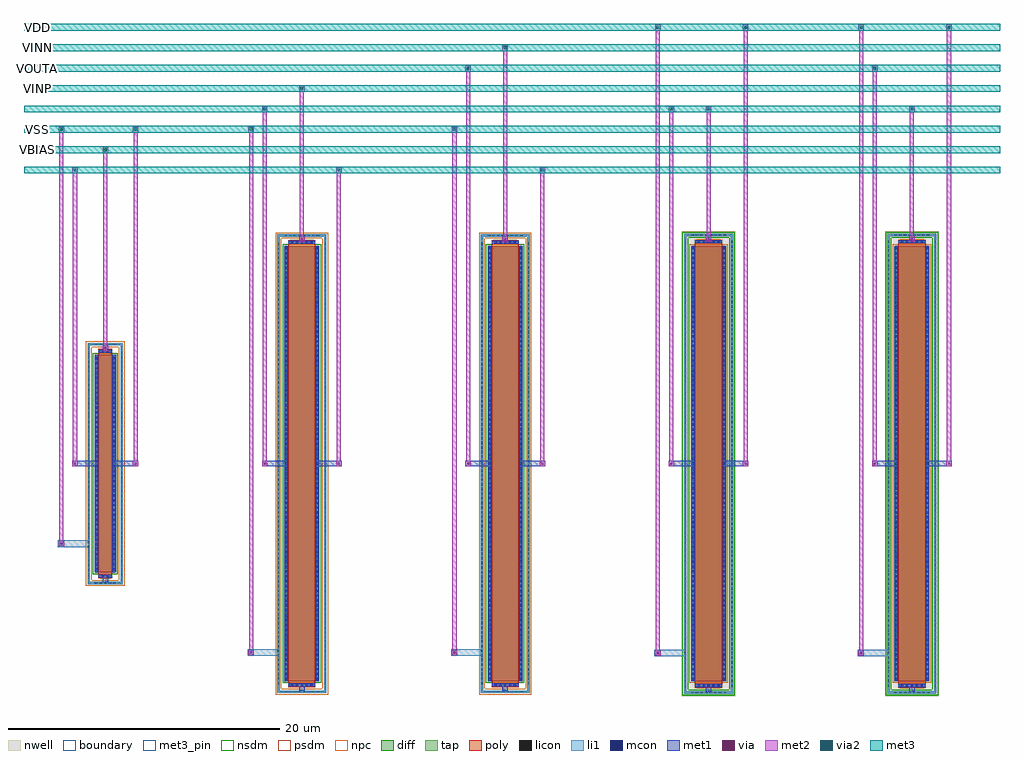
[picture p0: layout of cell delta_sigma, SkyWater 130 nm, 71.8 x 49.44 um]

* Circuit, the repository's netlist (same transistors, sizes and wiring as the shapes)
* u_hawaii_adc -- delta_sigma modulator CORE (integrator OTA) -- sky130A retarget (real sky130_fd_pr devices, native ngspice)
* NOTE: L19 tapeout target is IHP SG13G2 (no public ngspice models). This deck
*   is the DISCLOSED open-source sky130A substitute exercising the real ngspice
*   path. The SC switches/caps + decimation are discrete-time/digital and are
*   verified by the behavioral mixed-signal cosim (A9), not this DC/AC deck.
* Analog core: single-stage NMOS-input OTA, long-L for DC-gain margin vs OSR=256
*   integrator-leakage floor (gain >= 20*log10(256) = 48.16 dB).
.lib /foss/pdks/sky130A/libs.tech/ngspice/sky130.lib.spice tt
.subckt ds_ota VDD VSS VINP VINN VOUTA VBIAS
* NMOS tail current source
XMtail ntail VBIAS VSS VSS sky130_fd_pr__nfet_01v8 W=4 L=1 m=4
* NMOS input diff pair (long L -> high ro -> high DC gain)
XM1 nd1 VINP ntail VSS sky130_fd_pr__nfet_01v8 W=8 L=2 m=4
XM2 VOUTA VINN ntail VSS sky130_fd_pr__nfet_01v8 W=8 L=2 m=4
* PMOS mirror load (diode at nd1), long L
XM3 nd1  nd1 VDD VDD sky130_fd_pr__pfet_01v8 W=8 L=2 m=4
XM4 VOUTA nd1 VDD VDD sky130_fd_pr__pfet_01v8 W=8 L=2 m=4
.ends ds_ota

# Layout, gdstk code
import gdstk
lib = gdstk.Library(unit=1e-6, precision=1e-09)
def R(c, l, rs):  # rectangles x0, y0, x1, y1
    for r in rs: c.add(gdstk.rectangle(r[:2], r[2:], *l))
def A(c, l, x, y, w, h, nx, ny, dx, dy):  # array of equal rectangles
    R(c, l, [(x+i*dx, y+j*dy, x+i*dx+w, y+j*dy+h) for i in range(nx) for j in range(ny)])
nwell = (64, 20)
diff = (65, 20)
tap = (65, 44)
poly = (66, 20)
licon = (66, 44)
li1 = (67, 20)
mcon = (67, 44)
met1 = (68, 20)
via = (68, 44)
met2 = (69, 20)
via2 = (69, 44)
met3_pin = (70, 16)
met3 = (70, 20)
nsdm = (93, 44)
psdm = (94, 20)
npc = (95, 20)
boundary = (235, 4)

dev_nfet_w16_l1 = lib.new_cell('dev_nfet_w16_l1')
R(dev_nfet_w16_l1, diff, [(-0.79,-8,0.79,8)])
R(dev_nfet_w16_l1, tap, [(-1.3,-8.87,1.3,-8.7), (-1.3,-8.7,-1.13,8.7), (1.13,-8.7,1.3,8.7), (-1.3,8.7,1.3,8.87)])
R(dev_nfet_w16_l1, poly, [(-0.5,-8.44,0.5,8.44)])
A(dev_nfet_w16_l1, licon, -0.765, -8.87, 0.17, 0.17, 5, 2, 0.34, 17.57)
A(dev_nfet_w16_l1, licon, -1.3, -8.245, 0.17, 0.17, 1, 49, 0, 0.34)
A(dev_nfet_w16_l1, licon, 1.13, -8.245, 0.17, 0.17, 1, 49, 0, 0.34)
A(dev_nfet_w16_l1, licon, -0.73, -7.905, 0.17, 0.17, 1, 47, 0, 0.34)
A(dev_nfet_w16_l1, licon, 0.56, -7.905, 0.17, 0.17, 1, 47, 0, 0.34)
R(dev_nfet_w16_l1, licon, [(-0.255,-8.36,-0.085,-8.19), (0.085,-8.36,0.255,-8.19), (-0.255,8.19,-0.085,8.36), (0.085,8.19,0.255,8.36)])
R(dev_nfet_w16_l1, li1, [(-1.3,-8.87,1.3,-8.7), (-1.3,-8.7,-1.13,8.7), (1.13,-8.7,1.3,8.7), (-0.5,-8.36,0.5,-8.19), (-0.73,-8.02,-0.56,8.02), (0.56,-8.02,0.73,8.02), (-0.5,8.19,0.5,8.36), (-1.3,8.7,1.3,8.87)])
A(dev_nfet_w16_l1, mcon, -0.73, -7.825, 0.17, 0.17, 1, 44, 0, 0.36)
A(dev_nfet_w16_l1, mcon, 0.56, -7.825, 0.17, 0.17, 1, 44, 0, 0.36)
R(dev_nfet_w16_l1, mcon, [(-0.265,-8.36,-0.095,-8.19), (0.095,-8.36,0.265,-8.19), (-0.265,8.19,-0.095,8.36), (0.095,8.19,0.265,8.36)])
R(dev_nfet_w16_l1, met1, [(-0.48,-8.39,0.48,-8.16), (-0.76,-8,-0.53,8), (0.53,-8,0.76,8), (-0.48,8.16,0.48,8.39)])
R(dev_nfet_w16_l1, nsdm, [(-0.915,-8.125,0.915,8.125)])
R(dev_nfet_w16_l1, psdm, [(-1.425,-8.995,1.425,-8.575), (-1.425,-8.575,-1.005,8.575), (1.005,-8.575,1.425,8.575), (-1.425,8.575,1.425,8.995)])
R(dev_nfet_w16_l1, npc, [(-0.355,-8.46,0.355,-8.09), (-0.355,8.09,0.355,8.46)])
R(dev_nfet_w16_l1, boundary, [(-1.215,-8.785,1.215,8.785)])
dev_nfet_w16_l1.add(gdstk.Label('B', (0,-8.785), layer=67, texttype=5))
dev_nfet_w16_l1.add(gdstk.Label('D', (-0.645,0), layer=67, texttype=5))
dev_nfet_w16_l1.add(gdstk.Label('S', (0.645,0), layer=67, texttype=5))
dev_nfet_w16_l1.add(gdstk.Label('G', (0,8.275), layer=67, texttype=5))

dev_pfet_w32_l2 = lib.new_cell('dev_pfet_w32_l2')
R(dev_pfet_w32_l2, nwell, [(-1.98,-17.095,1.98,17.095)])
R(dev_pfet_w32_l2, diff, [(-1.29,-16,1.29,16)])
R(dev_pfet_w32_l2, tap, [(-1.8,-16.915,1.8,-16.745), (-1.8,-16.745,-1.63,16.745), (1.63,-16.745,1.8,16.745), (-1.8,16.745,1.8,16.915)])
R(dev_pfet_w32_l2, poly, [(-1,-16.485,1,16.485)])
A(dev_pfet_w32_l2, licon, -1.275, -16.915, 0.17, 0.17, 8, 2, 0.34, 33.66)
A(dev_pfet_w32_l2, licon, -1.8, -16.405, 0.17, 0.17, 1, 97, 0, 0.34)
A(dev_pfet_w32_l2, licon, -0.765, -16.405, 0.17, 0.17, 5, 2, 0.34, 32.64)
A(dev_pfet_w32_l2, licon, 1.63, -16.405, 0.17, 0.17, 1, 97, 0, 0.34)
A(dev_pfet_w32_l2, licon, -1.23, -15.895, 0.17, 0.17, 1, 94, 0, 0.34)
A(dev_pfet_w32_l2, licon, 1.06, -15.895, 0.17, 0.17, 1, 94, 0, 0.34)
R(dev_pfet_w32_l2, li1, [(-1.8,-16.915,1.8,-16.745), (-1.8,-16.745,-1.63,16.745), (1.63,-16.745,1.8,16.745), (-1,-16.405,1,-16.235), (-1.23,-16.02,-1.06,16.02), (1.06,-16.02,1.23,16.02), (-1,16.235,1,16.405), (-1.8,16.745,1.8,16.915)])
A(dev_pfet_w32_l2, mcon, -0.805, -16.405, 0.17, 0.17, 5, 2, 0.36, 32.64)
A(dev_pfet_w32_l2, mcon, -1.23, -15.925, 0.17, 0.17, 1, 89, 0, 0.36)
A(dev_pfet_w32_l2, mcon, 1.06, -15.925, 0.17, 0.17, 1, 89, 0, 0.36)
R(dev_pfet_w32_l2, met1, [(-0.98,-16.435,0.98,-16.205), (-1.26,-16,-1.03,16), (1.03,-16,1.26,16), (-0.98,16.205,0.98,16.435)])
R(dev_pfet_w32_l2, nsdm, [(-1.925,-17.04,1.925,-16.62), (-1.925,-16.62,-1.505,16.62), (1.505,-16.62,1.925,16.62), (-1.925,16.62,1.925,17.04)])
R(dev_pfet_w32_l2, psdm, [(-1.415,-16.125,1.415,16.125)])
R(dev_pfet_w32_l2, npc, [(-0.865,-16.505,0.865,-16.135), (-0.865,16.135,0.865,16.505)])
R(dev_pfet_w32_l2, boundary, [(-1.715,-16.83,1.715,16.83)])
dev_pfet_w32_l2.add(gdstk.Label('B', (0,-16.83), layer=67, texttype=5))
dev_pfet_w32_l2.add(gdstk.Label('D', (-1.145,0), layer=67, texttype=5))
dev_pfet_w32_l2.add(gdstk.Label('S', (1.145,0), layer=67, texttype=5))
dev_pfet_w32_l2.add(gdstk.Label('G', (0,16.32), layer=67, texttype=5))

dev_nfet_w32_l2 = lib.new_cell('dev_nfet_w32_l2')
R(dev_nfet_w32_l2, diff, [(-1.29,-16,1.29,16)])
R(dev_nfet_w32_l2, tap, [(-1.8,-16.87,1.8,-16.7), (-1.8,-16.7,-1.63,16.7), (1.63,-16.7,1.8,16.7), (-1.8,16.7,1.8,16.87)])
R(dev_nfet_w32_l2, poly, [(-1,-16.44,1,16.44)])
A(dev_nfet_w32_l2, licon, -1.275, -16.87, 0.17, 0.17, 8, 2, 0.34, 33.57)
A(dev_nfet_w32_l2, licon, -0.765, -16.36, 0.17, 0.17, 5, 2, 0.34, 32.55)
A(dev_nfet_w32_l2, licon, -1.8, -16.235, 0.17, 0.17, 1, 96, 0, 0.34)
A(dev_nfet_w32_l2, licon, 1.63, -16.235, 0.17, 0.17, 1, 96, 0, 0.34)
A(dev_nfet_w32_l2, licon, -1.23, -15.895, 0.17, 0.17, 1, 94, 0, 0.34)
A(dev_nfet_w32_l2, licon, 1.06, -15.895, 0.17, 0.17, 1, 94, 0, 0.34)
R(dev_nfet_w32_l2, li1, [(-1.8,-16.87,1.8,-16.7), (-1.8,-16.7,-1.63,16.7), (1.63,-16.7,1.8,16.7), (-1,-16.36,1,-16.19), (-1.23,-16.02,-1.06,16.02), (1.06,-16.02,1.23,16.02), (-1,16.19,1,16.36), (-1.8,16.7,1.8,16.87)])
A(dev_nfet_w32_l2, mcon, -0.805, -16.36, 0.17, 0.17, 5, 2, 0.36, 32.55)
A(dev_nfet_w32_l2, mcon, -1.23, -15.925, 0.17, 0.17, 1, 89, 0, 0.36)
A(dev_nfet_w32_l2, mcon, 1.06, -15.925, 0.17, 0.17, 1, 89, 0, 0.36)
R(dev_nfet_w32_l2, met1, [(-0.98,-16.39,0.98,-16.16), (-1.26,-16,-1.03,16), (1.03,-16,1.26,16), (-0.98,16.16,0.98,16.39)])
R(dev_nfet_w32_l2, nsdm, [(-1.415,-16.125,1.415,16.125)])
R(dev_nfet_w32_l2, psdm, [(-1.925,-16.995,1.925,-16.575), (-1.925,-16.575,-1.505,16.575), (1.505,-16.575,1.925,16.575), (-1.925,16.575,1.925,16.995)])
R(dev_nfet_w32_l2, npc, [(-0.865,-16.46,0.865,-16.09), (-0.865,16.09,0.865,16.46)])
R(dev_nfet_w32_l2, boundary, [(-1.715,-16.785,1.715,16.785)])
dev_nfet_w32_l2.add(gdstk.Label('B', (0,-16.785), layer=67, texttype=5))
dev_nfet_w32_l2.add(gdstk.Label('D', (-1.145,0), layer=67, texttype=5))
dev_nfet_w32_l2.add(gdstk.Label('S', (1.145,0), layer=67, texttype=5))
dev_nfet_w32_l2.add(gdstk.Label('G', (0,16.275), layer=67, texttype=5))

delta_sigma = lib.new_cell('delta_sigma')
R(delta_sigma, li1, [(41.88,-14.185,44.23,-13.685), (56.84,-14.185,59.19,-13.685), (11.96,-14.14,14.31,-13.64), (26.92,-14.14,29.27,-13.64), (-2,-6.14,0.35,-5.64)])
R(delta_sigma, mcon, [(42.045,-14.02,42.215,-13.85), (57.005,-14.02,57.175,-13.85), (12.125,-13.975,12.295,-13.805), (27.085,-13.975,27.255,-13.805), (-1.835,-5.975,-1.665,-5.805)])
R(delta_sigma, met1, [(45.66,-16.77,46.06,-16.27), (60.62,-16.77,61.02,-16.27), (15.74,-16.725,16.14,-16.225), (30.7,-16.725,31.1,-16.225), (41.93,-14.135,42.33,-13.735), (56.89,-14.135,57.29,-13.735), (12.01,-14.09,12.41,-13.69), (26.97,-14.09,27.37,-13.69), (1.28,-8.725,1.68,-8.225), (-1.95,-6.09,-1.55,-5.69), (-0.95,-0.2,0.835,0.2), (2.125,-0.2,3.91,0.2), (13.01,-0.2,14.795,0.2), (17.085,-0.2,18.87,0.2), (27.97,-0.2,29.755,0.2), (32.045,-0.2,33.83,0.2), (42.93,-0.2,44.715,0.2), (47.005,-0.2,48.79,0.2), (57.89,-0.2,59.675,0.2), (61.965,-0.2,63.75,0.2), (1.28,8.225,1.68,8.725), (15.74,16.225,16.14,16.725), (30.7,16.225,31.1,16.725), (45.66,16.27,46.06,16.77), (60.62,16.27,61.02,16.77)])
R(delta_sigma, via, [(42.055,-14.01,42.205,-13.86), (57.015,-14.01,57.165,-13.86), (12.135,-13.965,12.285,-13.815), (27.095,-13.965,27.245,-13.815), (-1.825,-5.965,-1.675,-5.815), (-0.825,-0.075,-0.675,0.075), (3.635,-0.075,3.785,0.075), (13.135,-0.075,13.285,0.075), (18.595,-0.075,18.745,0.075), (28.095,-0.075,28.245,0.075), (33.555,-0.075,33.705,0.075), (43.055,-0.075,43.205,0.075), (48.515,-0.075,48.665,0.075), (58.015,-0.075,58.165,0.075), (63.475,-0.075,63.625,0.075), (1.405,8.4,1.555,8.55), (15.865,16.4,16.015,16.55), (30.825,16.4,30.975,16.55), (45.785,16.445,45.935,16.595), (60.745,16.445,60.895,16.595)])
R(delta_sigma, met2, [(41.93,-14.135,42.33,-13.735), (56.89,-14.135,57.29,-13.735), (12.01,-14.09,12.41,-13.69), (26.97,-14.09,27.37,-13.69), (41.98,-13.735,42.28,31.895), (56.94,-13.735,57.24,31.895), (12.06,-13.69,12.36,24.395), (27.02,-13.69,27.32,24.395), (-1.95,-6.09,-1.55,-5.69), (-1.9,-5.69,-1.6,24.395), (-0.95,-0.2,-0.55,0.2), (3.51,-0.2,3.91,0.2), (13.01,-0.2,13.41,0.2), (18.47,-0.2,18.87,0.2), (27.97,-0.2,28.37,0.2), (33.43,-0.2,33.83,0.2), (42.93,-0.2,43.33,0.2), (48.39,-0.2,48.79,0.2), (57.89,-0.2,58.29,0.2), (63.35,-0.2,63.75,0.2), (-0.9,0.2,-0.6,21.395), (3.56,0.2,3.86,24.395), (13.06,0.2,13.36,25.895), (18.52,0.2,18.82,21.395), (28.02,0.2,28.32,28.895), (33.48,0.2,33.78,21.395), (42.98,0.2,43.28,25.895), (48.44,0.2,48.74,31.895), (57.94,0.2,58.24,28.895), (63.4,0.2,63.7,31.895), (1.28,8.275,1.68,8.675), (1.33,8.675,1.63,22.895), (15.74,16.275,16.14,16.675), (30.7,16.275,31.1,16.675), (45.66,16.32,46.06,16.72), (60.62,16.32,61.02,16.72), (15.79,16.675,16.09,27.395), (30.75,16.675,31.05,30.395), (45.71,16.72,46.01,25.895), (60.67,16.72,60.97,25.895), (-0.95,21.395,-0.55,21.795), (18.47,21.395,18.87,21.795), (33.43,21.395,33.83,21.795), (1.28,22.895,1.68,23.295), (-1.95,24.395,-1.55,24.795), (3.51,24.395,3.91,24.795), (12.01,24.395,12.41,24.795), (26.97,24.395,27.37,24.795), (13.01,25.895,13.41,26.295), (42.93,25.895,43.33,26.295), (45.66,25.895,46.06,26.295), (60.62,25.895,61.02,26.295), (15.74,27.395,16.14,27.795), (27.97,28.895,28.37,29.295), (57.89,28.895,58.29,29.295), (30.7,30.395,31.1,30.795), (41.93,31.895,42.33,32.295), (48.39,31.895,48.79,32.295), (56.89,31.895,57.29,32.295), (63.35,31.895,63.75,32.295)])
R(delta_sigma, via2, [(-0.85,21.495,-0.65,21.695), (18.57,21.495,18.77,21.695), (33.53,21.495,33.73,21.695), (1.38,22.995,1.58,23.195), (-1.85,24.495,-1.65,24.695), (3.61,24.495,3.81,24.695), (12.11,24.495,12.31,24.695), (27.07,24.495,27.27,24.695), (13.11,25.995,13.31,26.195), (43.03,25.995,43.23,26.195), (45.76,25.995,45.96,26.195), (60.72,25.995,60.92,26.195), (15.84,27.495,16.04,27.695), (28.07,28.995,28.27,29.195), (57.99,28.995,58.19,29.195), (30.8,30.495,31,30.695), (42.03,31.995,42.23,32.195), (48.49,31.995,48.69,32.195), (56.99,31.995,57.19,32.195), (63.45,31.995,63.65,32.195)])
A(delta_sigma, met3_pin, -4, 27.345, 1, 0.5, 1, 4, 0, 1.5)
R(delta_sigma, met3_pin, [(-4,22.845,-3,23.345), (-4,24.345,-3,24.845)])
A(delta_sigma, met3, -4.5, 21.345, 71.8, 0.5, 1, 8, 0, 1.5)
delta_sigma.add(gdstk.Reference(dev_nfet_w16_l1, (1.48,0)))
delta_sigma.add(gdstk.Reference(dev_pfet_w32_l2, (60.82,0)))
delta_sigma.add(gdstk.Reference(dev_pfet_w32_l2, (45.86,0)))
delta_sigma.add(gdstk.Reference(dev_nfet_w32_l2, (30.9,0)))
delta_sigma.add(gdstk.Reference(dev_nfet_w32_l2, (15.94,0)))
delta_sigma.add(gdstk.Label('VDD', (-3.5,32.095), layer=70, texttype=5))
delta_sigma.add(gdstk.Label('VSS', (-3.5,24.595), layer=70, texttype=5))
delta_sigma.add(gdstk.Label('VINP', (-3.5,27.595), layer=70, texttype=5))
delta_sigma.add(gdstk.Label('VINN', (-3.5,30.595), layer=70, texttype=5))
delta_sigma.add(gdstk.Label('VOUTA', (-3.5,29.095), layer=70, texttype=5))
delta_sigma.add(gdstk.Label('VBIAS', (-3.5,23.095), layer=70, texttype=5))

lib.write_gds('delta_sigma.gds')
